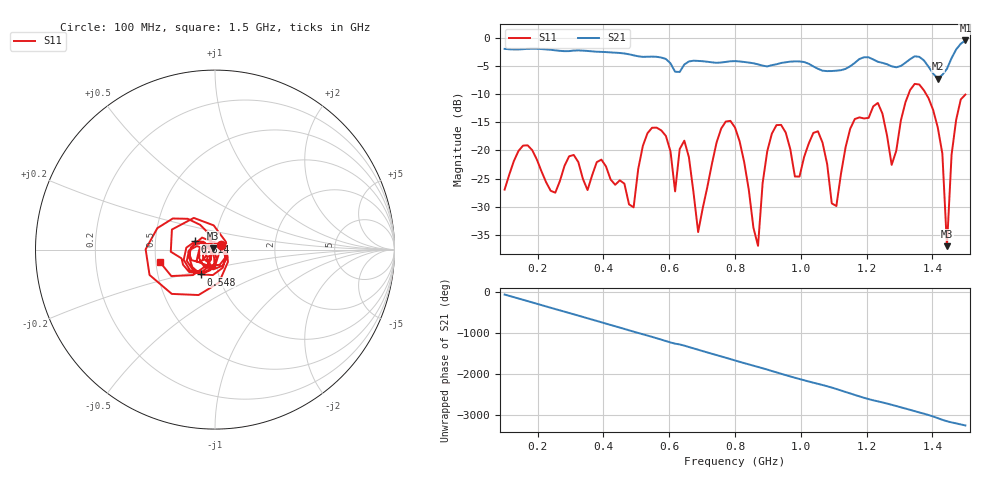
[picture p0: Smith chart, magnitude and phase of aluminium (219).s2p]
! NanoVNA-App
! Date: 2025-09-25 14:56:59
! Start: 100MHz Stop: 1,5GHz Points: 101
! S-Parameter data: F S11 S21 S12 S22
# Hz S RI R 50
!  Frequency  S11_Real  S11_Imag  S21_Real  S21_Imag  S12_Real  S12_Imag  S22_Real  S22_Imag
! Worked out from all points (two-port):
!   101 points, 100 MHz to 1.5 GHz, reference 50 ohm
!   highest |S21| = -0.42 dB at 1.5 GHz (marker M1); lowest = -7.2 dB at 1.416 GHz (marker M2)
!   |S21| within 3 dB of the highest: start of sweep to 571.8 MHz; 1.459 GHz to end of sweep (the widest 2 of 4)
!   lowest |S11| = -37.0 dB at 1.444 GHz (marker M3), VSWR 1.03, Z = 48.8 + j0.632 ohm
!   |S11| at or under -10 dB: start of sweep to 1.327 GHz; 1.381 GHz to end of sweep
!   S12 and S22 are empty: the file has one direction only
!   S11 on the Smith chart (normalised r, x): 100 MHz: 1.07, +0.06; 548 MHz: 0.82, -0.23; 814 MHz: 0.80, +0.07; 1.5 GHz: 0.53, -0.08
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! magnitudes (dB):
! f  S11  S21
! 100 MHz  -27.0  -1.9
! 338 MHz  -25.1  -2.2
! 492 MHz  -30.1  -3.1
! 548 MHz  -16.0  -3.3
! 576 MHz  -16.4  -3.5
! 618 MHz  -27.3  -6.0
! 646 MHz  -18.3  -4.7
! 688 MHz  -34.5  -4.1
! 800 MHz  -15.9  -4.1
! 814 MHz  -18.4  -4.2
! 870 MHz  -37.0  -4.7
! 912 MHz  -17.0  -4.8
! 1.038 GHz  -16.9  -5.0
! 1.108 GHz  -29.9  -5.8
! 1.164 GHz  -14.4  -4.4
! 1.234 GHz  -11.5  -4.2
! 1.276 GHz  -22.6  -5.0
! 1.346 GHz  -8.2  -3.2
! 1.416 GHz  -15.9  -7.2
! 1.444 GHz  -37.0  -5.5
! 1.458 GHz  -20.8  -3.6
! 1.5 GHz  -10.1  -0.4
